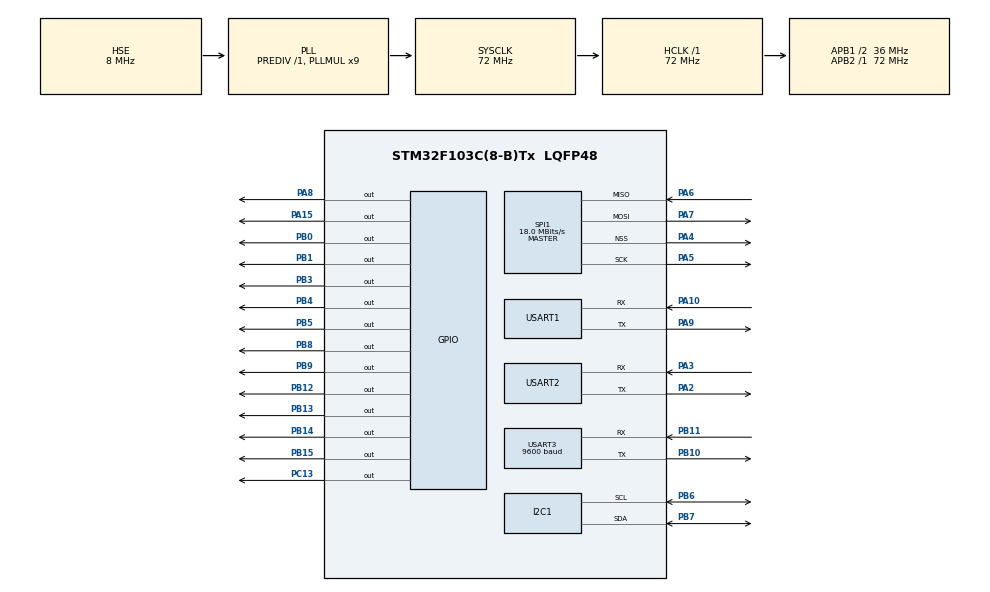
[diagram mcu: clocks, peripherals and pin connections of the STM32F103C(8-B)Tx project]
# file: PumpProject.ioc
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Mcu.Family=STM32F1
Mcu.Name=STM32F103C(8-B)Tx
Mcu.Package=LQFP48
NVIC.PriorityGroup=NVIC_PRIORITYGROUP_4
PA10.Mode=Asynchronous
PA10.Signal=USART1_RX
PA13.Mode=Serial_Wire
PA13.Signal=SYS_JTMS-SWDIO
PA14.Mode=Serial_Wire
PA14.Signal=SYS_JTCK-SWCLK
PA15.Signal=GPIO_Output
PA2.Mode=Asynchronous
PA2.Signal=USART2_TX
PA3.Mode=Asynchronous
PA3.Signal=USART2_RX
PA4.Mode=NSS_Signal_Hard_Output
PA4.Signal=SPI1_NSS
PA5.Mode=Full_Duplex_Master
PA5.Signal=SPI1_SCK
PA6.Mode=Full_Duplex_Master
PA6.Signal=SPI1_MISO
PA7.Mode=Full_Duplex_Master
PA7.Signal=SPI1_MOSI
PA8.Signal=GPIO_Output
PA9.Mode=Asynchronous
PA9.Signal=USART1_TX
PB0.Signal=GPIO_Output
PB1.Signal=GPIO_Output
PB10.Mode=Asynchronous
PB10.Signal=USART3_TX
PB11.Mode=Asynchronous
PB11.Signal=USART3_RX
PB12.Signal=GPIO_Output
PB13.Signal=GPIO_Output
PB14.Signal=GPIO_Output
PB15.Signal=GPIO_Output
PB3.Signal=GPIO_Output
PB4.Signal=GPIO_Output
PB5.Signal=GPIO_Output
PB6.Mode=I2C
PB6.Signal=I2C1_SCL
PB7.Mode=I2C
PB7.Signal=I2C1_SDA
PB8.Signal=GPIO_Output
PB9.Signal=GPIO_Output
PC13-TAMPER-RTC.Signal=GPIO_Output
PC14-OSC32_IN.Mode=LSE-External-Oscillator
PC14-OSC32_IN.Signal=RCC_OSC32_IN
PC15-OSC32_OUT.Mode=LSE-External-Oscillator
PC15-OSC32_OUT.Signal=RCC_OSC32_OUT
PD0-OSC_IN.Mode=HSE-External-Oscillator
PD0-OSC_IN.Signal=RCC_OSC_IN
PD1-OSC_OUT.Mode=HSE-External-Oscillator
PD1-OSC_OUT.Signal=RCC_OSC_OUT
ProjectManager.HeapSize=0x200
ProjectManager.StackSize=0x400
ProjectManager.TargetToolchain=STM32CubeIDE
RCC.AHBFreq_Value=72000000
RCC.APB1CLKDivider=RCC_HCLK_DIV2
RCC.APB1Freq_Value=36000000
RCC.APB1TimFreq_Value=72000000
RCC.APB2Freq_Value=72000000
RCC.APB2TimFreq_Value=72000000
RCC.HCLKFreq_Value=72000000
RCC.PLLMUL=RCC_PLL_MUL9
RCC.PLLSourceVirtual=RCC_PLLSOURCE_HSE
RCC.SYSCLKFreq_VALUE=72000000
RCC.SYSCLKSource=RCC_SYSCLKSOURCE_PLLCLK
RCC.USBFreq_Value=72000000
SPI1.BaudRatePrescaler=SPI_BAUDRATEPRESCALER_4
SPI1.CalculateBaudRate=18.0 MBits/s
SPI1.Direction=SPI_DIRECTION_2LINES
SPI1.Mode=SPI_MODE_MASTER
SPI1.VirtualNSS=VM_NSSHARD
SPI1.VirtualType=VM_MASTER
USART1.VirtualMode=VM_ASYNC
USART2.VirtualMode=VM_ASYNC
USART3.BaudRate=9600
USART3.Parity=PARITY_EVEN
USART3.VirtualMode=VM_ASYNC
board=custom

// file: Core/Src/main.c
/* USER CODE BEGIN Header */
/**
  ******************************************************************************
  * @file           : main.c
  * @brief          : Main program body
  ******************************************************************************
  * @attention
  *
  * <h2><center>&copy; Copyright (c) 2020 STMicroelectronics.
  * All rights reserved.</center></h2>
  *
  * This software component is licensed by ST under BSD 3-Clause license,
  * the "License"; You may not use this file except in compliance with the
  * License. You may obtain a copy of the License at:
  *                        opensource.org/licenses/BSD-3-Clause
  *
  ******************************************************************************
  */
/* USER CODE END Header */
#include "main.h"

/* USER CODE BEGIN Includes */
//#include <fatfs_sd.h>

/* USER CODE END Includes */

/* USER CODE BEGIN PD */
#define PD22	GPIOB
#define D22		GPIO_PIN_4
#define PD23	GPIOB
#define D23		GPIO_PIN_5
#define PD2		GPIOC
#define D2		GPIO_PIN_13
#define PD3		GPIOB
#define D3		GPIO_PIN_9
#define PD4		GPIOB
#define D4		GPIO_PIN_8
#define PD5		GPIOB
#define D5		GPIO_PIN_0
#define PD6		GPIOB
#define D6		GPIO_PIN_1
#define PD7		GPIOB
#define D7		GPIO_PIN_3
#define PD8		GPIOA
#define D8		GPIO_PIN_15
#define PD9		GPIOA
#define D9		GPIO_PIN_8
#define PD10	GPIOB
#define D10		GPIO_PIN_15
#define PD11	GPIOB
#define D11		GPIO_PIN_14
#define PD12	GPIOB
#define D12		GPIO_PIN_13
#define PD13	GPIOB
#define D13		GPIO_PIN_12

#define BUFFSIZE 1024
/* USER CODE END PD */

I2C_HandleTypeDef hi2c1;

SPI_HandleTypeDef hspi1;

UART_HandleTypeDef huart1;
UART_HandleTypeDef huart2;
UART_HandleTypeDef huart3;

/* USER CODE BEGIN PV */
char buffer[BUFFSIZE];
/* USER CODE END PV */

void SystemClock_Config(void);
static void MX_GPIO_Init(void);
static void MX_SPI1_Init(void);
static void MX_USART1_UART_Init(void);
static void MX_USART2_UART_Init(void);
static void MX_USART3_UART_Init(void);
static void MX_I2C1_Init(void);

/* USER CODE BEGIN 0 */
/* find size of data in buffer */
int bufsize(char *buf)
{
	int i = 0;
	while(*buf++ != '\0') i++;
	return i;
}

int bufsizechararray(char buf[])
{
	int i = 0;
	while(buf[i] != '\0') i++;
	return i+1;
}

void bufclear(void)
{
	for (int i=0; i < 1024; i++)
	{
		buffer[i] = '\0';
	}
}

void GPIOTest(){
	HAL_GPIO_TogglePin(GPIOC,GPIO_PIN_13); // D2
		  HAL_GPIO_TogglePin(GPIOB,GPIO_PIN_0);// D5
		  HAL_GPIO_TogglePin(GPIOB,GPIO_PIN_1);// D6
		  HAL_GPIO_TogglePin(GPIOB,GPIO_PIN_9); // D3
		  HAL_GPIO_TogglePin(GPIOB,GPIO_PIN_8); // D4
		  HAL_GPIO_TogglePin(GPIOB,GPIO_PIN_5);// D23
		  HAL_GPIO_TogglePin(GPIOB,GPIO_PIN_4);// D22
		  HAL_GPIO_TogglePin(GPIOB,GPIO_PIN_3); // D7
		  HAL_GPIO_TogglePin(GPIOB,GPIO_PIN_15); // D10
		  HAL_GPIO_TogglePin(GPIOB,GPIO_PIN_14); // D11
		  HAL_GPIO_TogglePin(GPIOB,GPIO_PIN_13);// D12
		  HAL_GPIO_TogglePin(GPIOB,GPIO_PIN_12);// D13
		  HAL_GPIO_TogglePin(GPIOA,GPIO_PIN_15); //D8
		  HAL_GPIO_TogglePin(GPIOA,GPIO_PIN_8); // D9
//		  HAL_Delay(5000);

}

void UARTTest(){
	  HAL_UART_Transmit(&huart1, "OK\r\n", 4, 1000);
	  HAL_Delay(1000);
	  HAL_UART_Transmit(&huart2, "OK\r\n", 4, 1000);
	  HAL_Delay(1000);
	  HAL_UART_Transmit(&huart3, "OK\r\n", 4, 1000);
	  HAL_Delay(1000);
}
void RS485Send(char * data){
	HAL_GPIO_WritePin(PD22, D22, GPIO_PIN_SET);
	HAL_GPIO_WritePin(PD23, D23, GPIO_PIN_SET);
	HAL_UART_Transmit(&huart3, data, bufsize(data), 500);
	HAL_GPIO_WritePin(PD22, D22, GPIO_PIN_RESET);
	HAL_GPIO_WritePin(PD23, D23, GPIO_PIN_RESET);
//	  HAL_Delay(1000);
}
void RS485Recv(int timeout){
	HAL_GPIO_WritePin(PD22, D22, GPIO_PIN_RESET);
	HAL_GPIO_WritePin(PD23, D23, GPIO_PIN_RESET);
	HAL_UART_Receive(&huart3, buffer, BUFFSIZE, timeout);
//	  HAL_Delay(1000);
}
/* USER CODE END 0 */

int main(void)
{

  /* MCU Configuration--------------------------------------------------------*/

  /* Reset of all peripherals, Initializes the Flash interface and the Systick. */
  HAL_Init();

  /* Configure the system clock */
  SystemClock_Config();

  /* Initialize all configured peripherals */
  MX_GPIO_Init();
  MX_SPI1_Init();
  MX_USART1_UART_Init();
  MX_USART2_UART_Init();
  MX_USART3_UART_Init();
  MX_I2C1_Init();
  /* USER CODE BEGIN 2 */
  GPIOTest();
  HAL_Delay(2000);
  /* USER CODE END 2 */

  /* Infinite loop */
  /* USER CODE BEGIN WHILE */
  while (1)
  {
	  GPIOTest();
	  UARTTest();
	  RS485Send("Data From RS485\r\n");
    /* USER CODE END WHILE */

  }
}

void SystemClock_Config(void)
{
  RCC_OscInitTypeDef RCC_OscInitStruct = {0};
  RCC_ClkInitTypeDef RCC_ClkInitStruct = {0};

  /** Initializes the RCC Oscillators according to the specified parameters
  * in the RCC_OscInitTypeDef structure.
  */
  RCC_OscInitStruct.OscillatorType = RCC_OSCILLATORTYPE_HSE;
  RCC_OscInitStruct.HSEState = RCC_HSE_ON;
  RCC_OscInitStruct.HSEPredivValue = RCC_HSE_PREDIV_DIV1;
  RCC_OscInitStruct.HSIState = RCC_HSI_ON;
  RCC_OscInitStruct.PLL.PLLState = RCC_PLL_ON;
  RCC_OscInitStruct.PLL.PLLSource = RCC_PLLSOURCE_HSE;
  RCC_OscInitStruct.PLL.PLLMUL = RCC_PLL_MUL9;
  if (HAL_RCC_OscConfig(&RCC_OscInitStruct) != HAL_OK)
  {
    Error_Handler();
  }
  /** Initializes the CPU, AHB and APB buses clocks
  */
  RCC_ClkInitStruct.ClockType = RCC_CLOCKTYPE_HCLK|RCC_CLOCKTYPE_SYSCLK
                              |RCC_CLOCKTYPE_PCLK1|RCC_CLOCKTYPE_PCLK2;
  RCC_ClkInitStruct.SYSCLKSource = RCC_SYSCLKSOURCE_PLLCLK;
  RCC_ClkInitStruct.AHBCLKDivider = RCC_SYSCLK_DIV1;
  RCC_ClkInitStruct.APB1CLKDivider = RCC_HCLK_DIV2;
  RCC_ClkInitStruct.APB2CLKDivider = RCC_HCLK_DIV1;

  if (HAL_RCC_ClockConfig(&RCC_ClkInitStruct, FLASH_LATENCY_2) != HAL_OK)
  {
    Error_Handler();
  }
}

static void MX_I2C1_Init(void)
{

  hi2c1.Instance = I2C1;
  hi2c1.Init.ClockSpeed = 100000;
  hi2c1.Init.DutyCycle = I2C_DUTYCYCLE_2;
  hi2c1.Init.OwnAddress1 = 0;
  hi2c1.Init.AddressingMode = I2C_ADDRESSINGMODE_7BIT;
  hi2c1.Init.DualAddressMode = I2C_DUALADDRESS_DISABLE;
  hi2c1.Init.OwnAddress2 = 0;
  hi2c1.Init.GeneralCallMode = I2C_GENERALCALL_DISABLE;
  hi2c1.Init.NoStretchMode = I2C_NOSTRETCH_DISABLE;
  if (HAL_I2C_Init(&hi2c1) != HAL_OK)
  {
    Error_Handler();
  }

}

static void MX_SPI1_Init(void)
{

  /* SPI1 parameter configuration*/
  hspi1.Instance = SPI1;
  hspi1.Init.Mode = SPI_MODE_MASTER;
  hspi1.Init.Direction = SPI_DIRECTION_2LINES;
  hspi1.Init.DataSize = SPI_DATASIZE_8BIT;
  hspi1.Init.CLKPolarity = SPI_POLARITY_LOW;
  hspi1.Init.CLKPhase = SPI_PHASE_1EDGE;
  hspi1.Init.NSS = SPI_NSS_HARD_OUTPUT;
  hspi1.Init.BaudRatePrescaler = SPI_BAUDRATEPRESCALER_4;
  hspi1.Init.FirstBit = SPI_FIRSTBIT_MSB;
  hspi1.Init.TIMode = SPI_TIMODE_DISABLE;
  hspi1.Init.CRCCalculation = SPI_CRCCALCULATION_DISABLE;
  hspi1.Init.CRCPolynomial = 10;
  if (HAL_SPI_Init(&hspi1) != HAL_OK)
  {
    Error_Handler();
  }

}

static void MX_USART1_UART_Init(void)
{

  huart1.Instance = USART1;
  huart1.Init.BaudRate = 115200;
  huart1.Init.WordLength = UART_WORDLENGTH_8B;
  huart1.Init.StopBits = UART_STOPBITS_1;
  huart1.Init.Parity = UART_PARITY_NONE;
  huart1.Init.Mode = UART_MODE_TX_RX;
  huart1.Init.HwFlowCtl = UART_HWCONTROL_NONE;
  huart1.Init.OverSampling = UART_OVERSAMPLING_16;
  if (HAL_UART_Init(&huart1) != HAL_OK)
  {
    Error_Handler();
  }

}

static void MX_USART2_UART_Init(void)
{

  huart2.Instance = USART2;
  huart2.Init.BaudRate = 115200;
  huart2.Init.WordLength = UART_WORDLENGTH_8B;
  huart2.Init.StopBits = UART_STOPBITS_1;
  huart2.Init.Parity = UART_PARITY_NONE;
  huart2.Init.Mode = UART_MODE_TX_RX;
  huart2.Init.HwFlowCtl = UART_HWCONTROL_NONE;
  huart2.Init.OverSampling = UART_OVERSAMPLING_16;
  if (HAL_UART_Init(&huart2) != HAL_OK)
  {
    Error_Handler();
  }

}

static void MX_USART3_UART_Init(void)
{

  huart3.Instance = USART3;
  huart3.Init.BaudRate = 9600;
  huart3.Init.WordLength = UART_WORDLENGTH_8B;
  huart3.Init.StopBits = UART_STOPBITS_1;
  huart3.Init.Parity = UART_PARITY_EVEN;
  huart3.Init.Mode = UART_MODE_TX_RX;
  huart3.Init.HwFlowCtl = UART_HWCONTROL_NONE;
  huart3.Init.OverSampling = UART_OVERSAMPLING_16;
  if (HAL_UART_Init(&huart3) != HAL_OK)
  {
    Error_Handler();
  }

}

static void MX_GPIO_Init(void)
{
  GPIO_InitTypeDef GPIO_InitStruct = {0};

  /* GPIO Ports Clock Enable */
  __HAL_RCC_GPIOC_CLK_ENABLE();
  __HAL_RCC_GPIOD_CLK_ENABLE();
  __HAL_RCC_GPIOA_CLK_ENABLE();
  __HAL_RCC_GPIOB_CLK_ENABLE();

  /*Configure GPIO pin Output Level */
  HAL_GPIO_WritePin(GPIOC, GPIO_PIN_13, GPIO_PIN_RESET);

  /*Configure GPIO pin Output Level */
  HAL_GPIO_WritePin(GPIOB, GPIO_PIN_0|GPIO_PIN_1|GPIO_PIN_12|GPIO_PIN_13
                          |GPIO_PIN_14|GPIO_PIN_15|GPIO_PIN_3|GPIO_PIN_4
                          |GPIO_PIN_5|GPIO_PIN_8|GPIO_PIN_9, GPIO_PIN_RESET);

  /*Configure GPIO pin Output Level */
  HAL_GPIO_WritePin(GPIOA, GPIO_PIN_8|GPIO_PIN_15, GPIO_PIN_RESET);

  /*Configure GPIO pin : PC13 */
  GPIO_InitStruct.Pin = GPIO_PIN_13;
  GPIO_InitStruct.Mode = GPIO_MODE_OUTPUT_PP;
  GPIO_InitStruct.Pull = GPIO_NOPULL;
  GPIO_InitStruct.Speed = GPIO_SPEED_FREQ_LOW;
  HAL_GPIO_Init(GPIOC, &GPIO_InitStruct);

  /*Configure GPIO pins : PB0 PB1 PB12 PB13
                           PB14 PB15 PB3 PB4
                           PB5 PB8 PB9 */
  GPIO_InitStruct.Pin = GPIO_PIN_0|GPIO_PIN_1|GPIO_PIN_12|GPIO_PIN_13
                          |GPIO_PIN_14|GPIO_PIN_15|GPIO_PIN_3|GPIO_PIN_4
                          |GPIO_PIN_5|GPIO_PIN_8|GPIO_PIN_9;
  GPIO_InitStruct.Mode = GPIO_MODE_OUTPUT_PP;
  GPIO_InitStruct.Pull = GPIO_NOPULL;
  GPIO_InitStruct.Speed = GPIO_SPEED_FREQ_LOW;
  HAL_GPIO_Init(GPIOB, &GPIO_InitStruct);

  /*Configure GPIO pins : PA8 PA15 */
  GPIO_InitStruct.Pin = GPIO_PIN_8|GPIO_PIN_15;
  GPIO_InitStruct.Mode = GPIO_MODE_OUTPUT_PP;
  GPIO_InitStruct.Pull = GPIO_NOPULL;
  GPIO_InitStruct.Speed = GPIO_SPEED_FREQ_LOW;
  HAL_GPIO_Init(GPIOA, &GPIO_InitStruct);

}

void Error_Handler(void)
{
}

/************************ (C) COPYRIGHT STMicroelectronics *****END OF FILE****/
